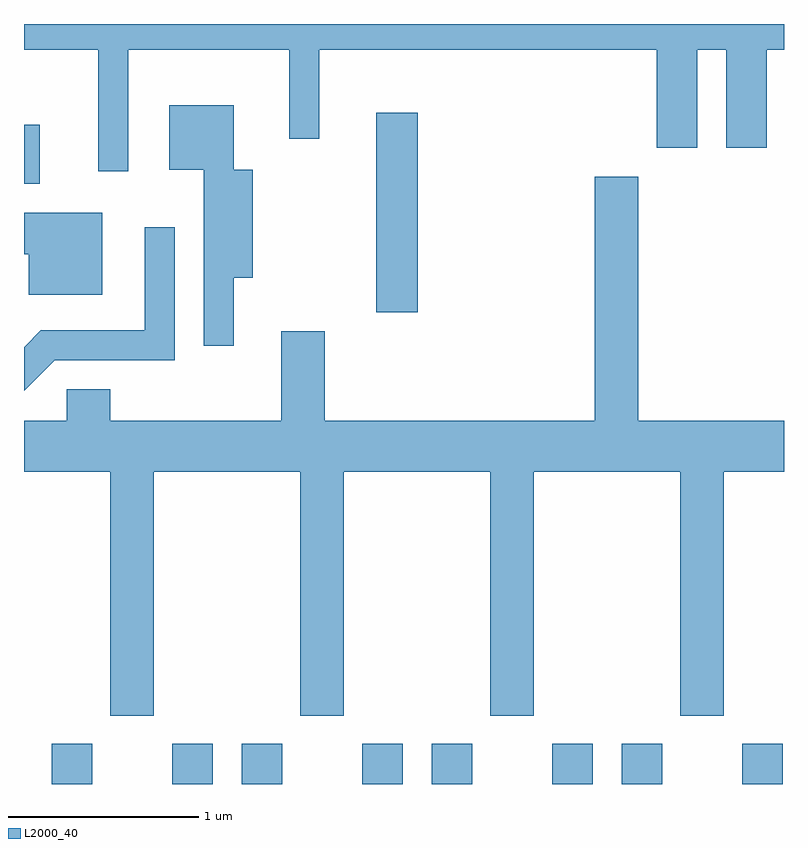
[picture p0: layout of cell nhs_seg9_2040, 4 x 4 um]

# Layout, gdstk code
import gdstk
lib = gdstk.Library(unit=1e-6, precision=1e-09)
def R(c, l, rs):  # rectangles x0, y0, x1, y1
    for r in rs: c.add(gdstk.rectangle(r[:2], r[2:], *l))
def P(c, l, *ps):  # polygons
    for p in ps: c.add(gdstk.Polygon(p, *l))
L2000_40 = (2000, 40)

nhs_seg9_2040 = lib.new_cell('nhs_seg9_2040')
R(nhs_seg9_2040, L2000_40, [(245.756,1952.432,245.969,1952.644), (246.391,1952.432,246.604,1952.644), (246.756,1952.432,246.969,1952.644), (247.391,1952.432,247.604,1952.644), (247.756,1952.432,247.969,1952.644), (248.391,1952.432,248.604,1952.644), (248.756,1952.432,248.969,1952.644), (249.391,1952.432,249.604,1952.644), (247.466,1954.916,247.684,1955.964), (245.611,1955.591,245.694,1955.903)])
P(nhs_seg9_2040, L2000_40, [(245.611,1956.296),(246.001,1956.296),(246.001,1955.658),(246.159,1955.658),(246.159,1956.296),(247.006,1956.296),(247.006,1955.828),(247.164,1955.828),(247.164,1956.296),(248.941,1956.296),(248.941,1955.781),(249.154,1955.781),(249.154,1956.296),(249.306,1956.296),(249.306,1955.781),(249.519,1955.781),(249.519,1956.296),(249.611,1956.296),(249.611,1956.432),(245.611,1956.432)],
  [(246.714,1955.096),(246.814,1955.096),(246.814,1955.664),(246.714,1955.664),(246.714,1956.004),(246.376,1956.004),(246.376,1955.666),(246.556,1955.666),(246.556,1954.738),(246.714,1954.738)],
  [(246.294,1954.076),(247.066,1954.076),(247.066,1952.791),(247.294,1952.791),(247.294,1954.076),(248.066,1954.076),(248.066,1952.791),(248.294,1952.791),(248.294,1954.076),(249.066,1954.076),(249.066,1952.791),(249.294,1952.791),(249.294,1954.076),(249.611,1954.076),(249.611,1954.344),(248.844,1954.344),(248.844,1955.629),(248.616,1955.629),(248.616,1954.344),(247.194,1954.344),(247.194,1954.814),(246.966,1954.814),(246.966,1954.344),(246.064,1954.344),(246.064,1954.509),(245.836,1954.509),(245.836,1954.344),(245.611,1954.344),(245.611,1954.076),(246.066,1954.076),(246.066,1952.791),(246.294,1952.791)],
  [(246.024,1955.439),(245.611,1955.439),(245.611,1955.221),(245.636,1955.221),(245.636,1955.006),(246.024,1955.006)],
  [(245.772,1954.661),(246.404,1954.661),(246.404,1955.363),(246.246,1955.363),(246.246,1954.819),(245.699,1954.819),(245.611,1954.731),(245.611,1954.501),(245.612,1954.501)])

lib.write_gds('nhs_seg9_2040.gds')
